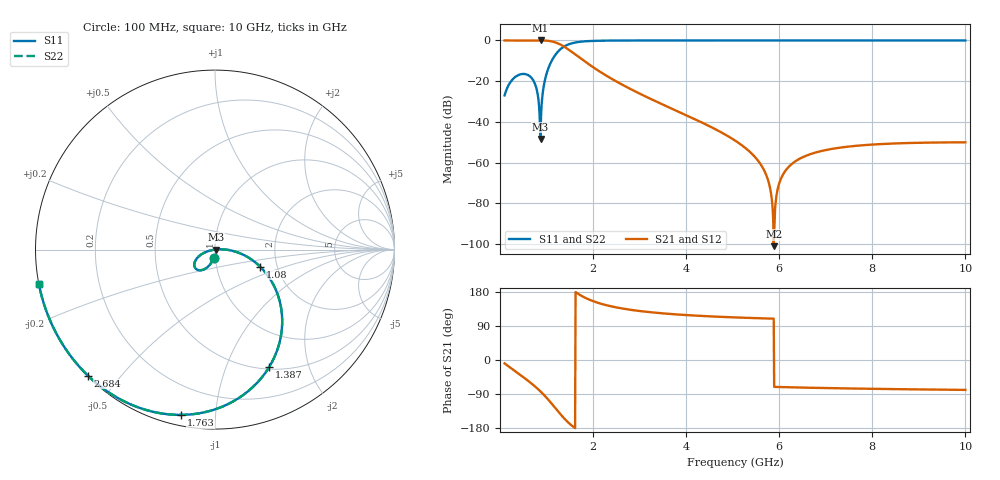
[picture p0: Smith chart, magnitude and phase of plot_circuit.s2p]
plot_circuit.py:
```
import skrf as rf
import matplotlib.pyplot as plt

# connexions = [
#     [(port1, 0), (network1, 0), (network4, 0)],
#     [(network1, 1), (network2, 0), (network5, 0)],
#     [(network1, 2), (network3, 0)],
#     [(network2, 1), (network3, 1)],
#     [(network2, 2), (port2, 0)],
#     [(network5, 1), (ground1, 0)],
#     [(network5, 2), (open1, 0)]
# ]
#
Z_0 = 50
Z_L = 75
theta = 0

# the necessary Frequency description
freq = rf.Frequency(start=1, stop=2, unit='GHz', npoints=3)

# The combination of a transmission line + a load can be created
# using the convenience delay_load method
# important: all the Network must have the parameter "name" defined
tline_media = rf.DefinedGammaZ0(freq, z0=Z_0)
delay_load = tline_media.delay_load(rf.zl_2_Gamma0(
    Z_0, Z_L), theta, unit='deg', name='delay_load')

# the input port of the circuit is defined with the Circuit.Port method
port1 = rf.Circuit.Port(freq, 'port1', z0=Z_0)

# connexion list
cnx = [
    [(port1, 0), (delay_load, 0)]
]
# building the circuit
cir = rf.Circuit(cnx)

cir.plot_graph(network_labels=True, network_fontsize=15,
               port_labels=True, port_fontsize=15,
               edge_labels=True, edge_fontsize=10)


# getting the resulting Network from the 'network' parameter:
ntw = cir.network
print(ntw)


# piece of transmission line and series impedance
trans_line = tline_media.line(theta, unit='deg', name='trans_line')
load = tline_media.resistor(Z_L, name='delay_load')
# ground network (short)
ground = rf.Circuit.Ground(freq, name='ground')

# connexion list
cnx = [
    [(port1, 0), (trans_line, 0)],
    [(trans_line, 1), (load, 0)],
    [(load, 1), (ground, 0)]
]
# building the circuit
cir = rf.Circuit(cnx)

cir.plot_graph(network_labels=True, network_fontsize=15,
               port_labels=True, port_fontsize=15,
               edge_labels=True, edge_fontsize=10)


# the result if the same :
ntw = cir.network
print(ntw)
print(cir.network.s[0])


freq = rf.Frequency(start=0.1, stop=10, unit='GHz', npoints=1001)
tl_media = rf.DefinedGammaZ0(freq, z0=50, gamma=1j * freq.w / rf.c)
C1 = tl_media.capacitor(3.222e-12, name='C1')
C2 = tl_media.capacitor(82.25e-15, name='C2')
C3 = tl_media.capacitor(3.222e-12, name='C3')
L2 = tl_media.inductor(8.893e-9, name='L2')
RL = tl_media.resistor(50, name='RL')
gnd = rf.Circuit.Ground(freq, name='gnd')
port1 = rf.Circuit.Port(freq, name='port1', z0=50)
port2 = rf.Circuit.Port(freq, name='port2', z0=50)

cnx = [
    [(port1, 0), (C1, 0), (L2, 0), (C2, 0)],
    [(L2, 1), (C2, 1), (C3, 0), (port2, 0)],
    [(gnd, 0), (C1, 1), (C3, 1)],
]
cir = rf.Circuit(cnx)
ntw = cir.network
ntw.write_touchstone("plot_circuit")

cir.plot_graph(network_labels=True, network_fontsize=15,
               port_labels=True, port_fontsize=15,
               edge_labels=True, edge_fontsize=10)
plt.figure()
ntw.plot_s_db(m=0, n=0, lw=2, logx=True)
ntw.plot_s_db(m=1, n=0, lw=2, logx=True)

print(ntw)
print(cir.network.s[0])

import networkx
# plt.figure()
# g = cir.graph()
# networkx.draw(g)

plt.show()
```
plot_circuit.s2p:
!Created with skrf (http://scikit-rf.org).
# GHz S RI R 50.0
!freq ReS11 ImS11 ReS21 ImS21 ReS12 ImS12 ReS22 ImS22
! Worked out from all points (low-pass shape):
!   1001 points, 100 MHz to 10 GHz, reference 50 ohm
!   highest |S21| = 0.00 dB at 872.2 MHz (marker M1); lowest = -101.0 dB at 5.882 GHz (marker M2)
!   |S21| within 3 dB of the highest: start of sweep to 1.376 GHz
!   lowest |S11| = -48.3 dB at 872.2 MHz (marker M3), VSWR 1.01, Z = 50.4 + j0.0464 ohm
!   |S11| at or under -10 dB: start of sweep to 1.111 GHz
!   |S22| runs from -48.3 to 0.0 dB; largest |S21 - S12| = 9e-16
!   S11 on the Smith chart (normalised r, x): 100 MHz: 0.98, -0.09; 1.08 GHz: 1.63, -0.33; 1.387 GHz: 0.53, -1.43; 1.763 GHz: 0.05, -0.82; 2.684 GHz: 0.00, -0.41; 10 GHz: 0.00, -0.10
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0.1  -0.00699 -0.0442  0.9867 -0.1562  0.9867 -0.1562  -0.00699 -0.0442
0.5851  -0.1155 -0.0872  0.5961 -0.7897  0.5961 -0.7897  -0.1155 -0.0872
0.8722  0.00381 0.000461  0.1201 -0.9927  0.1201 -0.9927  0.00381 0.000461
1.0801  0.2505 -0.0943  -0.3395 -0.9017  -0.3395 -0.9017  0.2505 -0.0943
1.387  0.3034 -0.6517  -0.6302 -0.2934  -0.6302 -0.2934  0.3034 -0.6517
1.7632  -0.1867 -0.9209  -0.3354 0.068  -0.3354 0.068  -0.1867 -0.9209
2.6839  -0.708 -0.7022  -0.0534 0.0538  -0.0534 0.0538  -0.708 -0.7022
5.05  -0.9249 -0.3801  -0.00133 0.00324  -0.00133 0.00324  -0.9249 -0.3801
5.8816  -0.9451 -0.3267  -2.92e-06 8.45e-06  -2.92e-06 8.45e-06  -0.9451 -0.3267
6.7231  -0.9582 -0.2861  0.000486 -0.00163  0.000486 -0.00163  -0.9582 -0.2861
10  -0.9813 -0.1926  0.000609 -0.0031  0.000609 -0.0031  -0.9813 -0.1926
